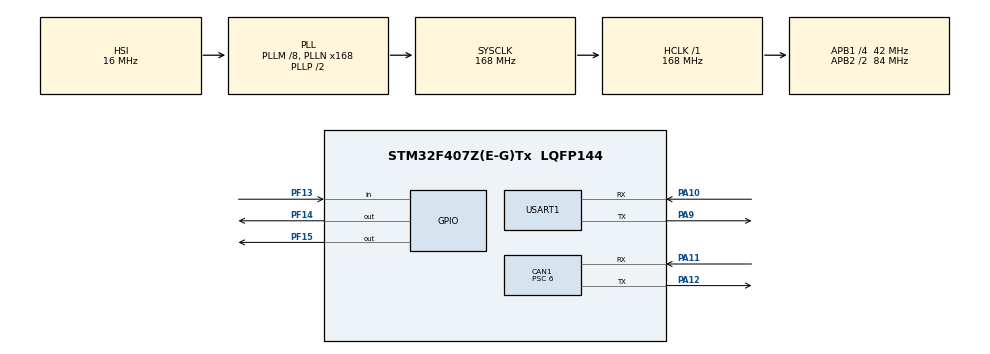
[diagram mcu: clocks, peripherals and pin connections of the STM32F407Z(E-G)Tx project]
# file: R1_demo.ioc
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CAN1.ABOM=ENABLE
CAN1.AWUM=ENABLE
CAN1.BS1=CAN_BS1_5TQ
CAN1.CalculateBaudRate=1000000
CAN1.CalculateTimeBit=1000
CAN1.CalculateTimeQuantum=142.85714285714286
CAN1.Prescaler=6
CAN1.SJW=CAN_SJW_1TQ
FREERTOS.Tasks01=defaultTask,0,128,StartDefaultTask,Default,NULL,Dynamic,NULL,NULL;DEBUG,-3,128,Debug,Default,NULL,Dynamic,NULL,NULL
IWDG.Prescaler=IWDG_PRESCALER_32
IWDG.Reload=3000
Mcu.Family=STM32F4
Mcu.Name=STM32F407Z(E-G)Tx
Mcu.Package=LQFP144
NVIC.CAN1_RX0_IRQn=true\:5\:0\:false\:false\:true\:true\:true\:true\:true
NVIC.PriorityGroup=NVIC_PRIORITYGROUP_4
NVIC.TIM3_IRQn=true\:5\:0\:false\:false\:true\:true\:true\:true\:true
NVIC.USART1_IRQn=true\:5\:0\:false\:false\:true\:true\:true\:true\:true
PA10.Mode=Asynchronous
PA10.Signal=USART1_RX
PA11.Mode=CAN_Activate
PA11.Signal=CAN1_RX
PA12.Mode=CAN_Activate
PA12.Signal=CAN1_TX
PA13.Mode=Serial_Wire
PA13.Signal=SYS_JTMS-SWDIO
PA14.Mode=Serial_Wire
PA14.Signal=SYS_JTCK-SWCLK
PA9.Mode=Asynchronous
PA9.Signal=USART1_TX
PC14-OSC32_IN.Mode=LSE-External-Clock-Source
PC14-OSC32_IN.Signal=RCC_OSC32_IN
PC15-OSC32_OUT.Mode=LSE-External-Clock-Source
PC15-OSC32_OUT.Signal=RCC_OSC32_OUT
PF13.Signal=GPIO_Input
PF14.GPIO_PuPd=GPIO_PULLDOWN
PF14.Signal=GPIO_Output
PF15.Signal=GPIO_Output
PH0-OSC_IN.Mode=HSE-External-Oscillator
PH0-OSC_IN.Signal=RCC_OSC_IN
PH1-OSC_OUT.Mode=HSE-External-Oscillator
PH1-OSC_OUT.Signal=RCC_OSC_OUT
ProjectManager.HeapSize=0x200
ProjectManager.StackSize=0x400
ProjectManager.TargetToolchain=STM32CubeIDE
RCC.48MHZClocksFreq_Value=84000000
RCC.AHBFreq_Value=168000000
RCC.APB1CLKDivider=RCC_HCLK_DIV4
RCC.APB1Freq_Value=42000000
RCC.APB1TimFreq_Value=84000000
RCC.APB2CLKDivider=RCC_HCLK_DIV2
RCC.APB2Freq_Value=84000000
RCC.APB2TimFreq_Value=168000000
RCC.CortexFreq_Value=168000000
RCC.HCLKFreq_Value=168000000
RCC.HSE_VALUE=25000000
RCC.HSI_VALUE=16000000
RCC.LSE_VALUE=32768
RCC.PLLM=8
RCC.PLLN=168
RCC.SYSCLKFreq_VALUE=168000000
RCC.SYSCLKSource=RCC_SYSCLKSOURCE_PLLCLK
RCC.VCOOutputFreq_Value=336000000
TIM3.AutoReloadPreload=TIM_AUTORELOAD_PRELOAD_ENABLE
TIM3.Period=1000
TIM3.Prescaler=84
USART1.VirtualMode=VM_ASYNC
VP_FREERTOS_VS_CMSIS_V1.Mode=CMSIS_V1
VP_IWDG_VS_IWDG.Mode=IWDG_Activate
VP_TIM3_VS_ClockSourceINT.Mode=Internal
board=custom

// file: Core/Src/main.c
/* USER CODE BEGIN Header */
/**
  ******************************************************************************
  * @file           : main.c
  * @brief          : Main program body
  ******************************************************************************
  * @attention
  *
  * Copyright (c) 2023 STMicroelectronics.
  * All rights reserved.
  *
  * This software is licensed under terms that can be found in the LICENSE file
  * in the root directory of this software component.
  * If no LICENSE file comes with this software, it is provided AS-IS.
  *
  ******************************************************************************
  */
/* USER CODE END Header */
#include "main.h"
#include "cmsis_os.h"
#include "can.h"
#include "iwdg.h"
#include "tim.h"
#include "usart.h"
#include "gpio.h"

/* USER CODE BEGIN PV */
//总全局变量
extern IWDG_HandleTypeDef hiwdg;
uint8_t global_flag = 0;
uint8_t Can_Callback_Message[30];
int32_t Sensor_Speed, Sensor_Count, Sensor_Current, last_Sensor_Count, Sensor_Position, Sensor_Row, pos_t, Stop_Position;
uint8_t test_string[] = {0x13, 0x88, 0x00, 0x00, 0x00, 0x00, 0x00, 0x00};
uint64_t general_time;
/* USER CODE END PV */

void SystemClock_Config(void);
void MX_FREERTOS_Init(void);

/* USER CODE BEGIN 0 */
int fputc(int ch, FILE *f)
{
    HAL_UART_Transmit(&huart1, (uint8_t *)&ch, 1,HAL_MAX_DELAY);
    return ch;
}

int fgetc(FILE * f)
{
    uint8_t ch = 0;
    HAL_UART_Receive(&huart1,&ch, 1, HAL_MAX_DELAY);
    return ch;
}

/* USER CODE END 0 */

int main(void)
{

  /* MCU Configuration--------------------------------------------------------*/

  /* Reset of all peripherals, Initializes the Flash interface and the Systick. */
  HAL_Init();

  /* Configure the system clock */
  SystemClock_Config();

  /* Initialize all configured peripherals */
  MX_GPIO_Init();
  MX_CAN1_Init();
  MX_USART1_UART_Init();
  MX_TIM3_Init();
  MX_IWDG_Init();
  /* USER CODE BEGIN 2 */
    RetargetInit(&huart1);
    if(!SelfCheck()){
        for(int i = 0; i <10; i++){
            HAL_GPIO_TogglePin(GPIOF, GPIO_PIN_14);
            HAL_Delay(100);
        }
    }
    else{
        Error_Handler();
    }
    Can_Start(&hcan1);
    while(HAL_GPIO_ReadPin(GPIOF, GPIO_PIN_13) == GPIO_PIN_SET){
        HAL_IWDG_Refresh(&hiwdg);
    }
    HAL_TIM_Base_Start_IT(&htim3);
  /* USER CODE END 2 */

  /* Call init function for freertos objects (in freertos.c) */
  MX_FREERTOS_Init();

  /* Start scheduler */
  osKernelStart();

  /* We should never get here as control is now taken by the scheduler */
  /* Infinite loop */
  while (1)
  {

  }
}

void SystemClock_Config(void)
{
  RCC_OscInitTypeDef RCC_OscInitStruct = {0};
  RCC_ClkInitTypeDef RCC_ClkInitStruct = {0};

  /** Configure the main internal regulator output voltage
  */
  __HAL_RCC_PWR_CLK_ENABLE();
  __HAL_PWR_VOLTAGESCALING_CONFIG(PWR_REGULATOR_VOLTAGE_SCALE1);

  /** Initializes the RCC Oscillators according to the specified parameters
  * in the RCC_OscInitTypeDef structure.
  */
  RCC_OscInitStruct.OscillatorType = RCC_OSCILLATORTYPE_HSI|RCC_OSCILLATORTYPE_LSI;
  RCC_OscInitStruct.HSIState = RCC_HSI_ON;
  RCC_OscInitStruct.HSICalibrationValue = RCC_HSICALIBRATION_DEFAULT;
  RCC_OscInitStruct.LSIState = RCC_LSI_ON;
  RCC_OscInitStruct.PLL.PLLState = RCC_PLL_ON;
  RCC_OscInitStruct.PLL.PLLSource = RCC_PLLSOURCE_HSI;
  RCC_OscInitStruct.PLL.PLLM = 8;
  RCC_OscInitStruct.PLL.PLLN = 168;
  RCC_OscInitStruct.PLL.PLLP = RCC_PLLP_DIV2;
  RCC_OscInitStruct.PLL.PLLQ = 4;
  if (HAL_RCC_OscConfig(&RCC_OscInitStruct) != HAL_OK)
  {
    Error_Handler();
  }

  /** Initializes the CPU, AHB and APB buses clocks
  */
  RCC_ClkInitStruct.ClockType = RCC_CLOCKTYPE_HCLK|RCC_CLOCKTYPE_SYSCLK
                              |RCC_CLOCKTYPE_PCLK1|RCC_CLOCKTYPE_PCLK2;
  RCC_ClkInitStruct.SYSCLKSource = RCC_SYSCLKSOURCE_PLLCLK;
  RCC_ClkInitStruct.AHBCLKDivider = RCC_SYSCLK_DIV1;
  RCC_ClkInitStruct.APB1CLKDivider = RCC_HCLK_DIV4;
  RCC_ClkInitStruct.APB2CLKDivider = RCC_HCLK_DIV2;

  if (HAL_RCC_ClockConfig(&RCC_ClkInitStruct, FLASH_LATENCY_5) != HAL_OK)
  {
    Error_Handler();
  }
}

void Error_Handler(void)
{
  __disable_irq();
  while (1)
  {
  }
}

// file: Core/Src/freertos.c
/* USER CODE BEGIN Header */
/**
  ******************************************************************************
  * File Name          : freertos.c
  * Description        : Code for freertos applications
  ******************************************************************************
  * @attention
  *
  * Copyright (c) 2023 STMicroelectronics.
  * All rights reserved.
  *
  * This software is licensed under terms that can be found in the LICENSE file
  * in the root directory of this software component.
  * If no LICENSE file comes with this software, it is provided AS-IS.
  *
  ******************************************************************************
  */
/* USER CODE END Header */

#include "FreeRTOS.h"
#include "task.h"
#include "main.h"
#include "cmsis_os.h"

/* USER CODE BEGIN Includes */
#include "global.h"
/* USER CODE END Includes */

/* USER CODE BEGIN Variables */
extern IWDG_HandleTypeDef hiwdg;
extern uint8_t Can_Callback_Message[30];
extern int16_t Sensor_Speed, Sensor_Count, Sensor_Current, Sensor_Position, Sensor_Row, Stop_Position;
extern uint8_t test_string[];
extern uint64_t general_time;
extern uint8_t global_flag;
extern PIDParDef pid2;
/* USER CODE END Variables */
osThreadId defaultTaskHandle;
osThreadId DEBUGHandle;

void StartDefaultTask(void const * argument);
void Debug(void const * argument);

void MX_FREERTOS_Init(void); /* (MISRA C 2004 rule 8.1) */

/* GetIdleTaskMemory prototype (linked to static allocation support) */
void vApplicationGetIdleTaskMemory( StaticTask_t **ppxIdleTaskTCBBuffer, StackType_t **ppxIdleTaskStackBuffer, uint32_t *pulIdleTaskStackSize );

/* USER CODE BEGIN GET_IDLE_TASK_MEMORY */
static StaticTask_t xIdleTaskTCBBuffer;
static StackType_t xIdleStack[configMINIMAL_STACK_SIZE];

void vApplicationGetIdleTaskMemory( StaticTask_t **ppxIdleTaskTCBBuffer, StackType_t **ppxIdleTaskStackBuffer, uint32_t *pulIdleTaskStackSize )
{
  *ppxIdleTaskTCBBuffer = &xIdleTaskTCBBuffer;
  *ppxIdleTaskStackBuffer = &xIdleStack[0];
  *pulIdleTaskStackSize = configMINIMAL_STACK_SIZE;
  /* place for user code */
}
/* USER CODE END GET_IDLE_TASK_MEMORY */

void MX_FREERTOS_Init(void) {

  /* Create the thread(s) */
  /* definition and creation of defaultTask */
  osThreadDef(defaultTask, StartDefaultTask, osPriorityNormal, 0, 128);
  defaultTaskHandle = osThreadCreate(osThread(defaultTask), NULL);

  /* definition and creation of DEBUG */
  osThreadDef(DEBUG, Debug, osPriorityIdle, 0, 128);
  DEBUGHandle = osThreadCreate(osThread(DEBUG), NULL);

}

void StartDefaultTask(void const * argument)
{
  /* USER CODE BEGIN StartDefaultTask */
int count = 0;
int temp_speed = -700;
  /* Infinite loop */
  for(;;)
  {
      HAL_IWDG_Refresh(&hiwdg);

      if(count < 900) {
          Motor1_Speed(temp_speed);
          count++;
      }
      else if(count == 900){
          global_flag = 1;
          count++;
      }
      if(global_flag == 1){
          Stop_Position = Sensor_Position;
          global_flag = 2;
      }

      if(global_flag == 2){
          Bark(Stop_Position);

          if(HAL_GPIO_ReadPin(GPIOF, GPIO_PIN_13) == GPIO_PIN_RESET)
          {
              temp_speed = -temp_speed;
              count = 0;
              global_flag = 0;
          }
      }
      hs_UART_Transmit(&huart1,pid2.output);
      osDelay(1);
  }
  /* USER CODE END StartDefaultTask */
}

void Debug(void const * argument)
{
  for(;;)
  {
      osDelay(1);
  }
}
